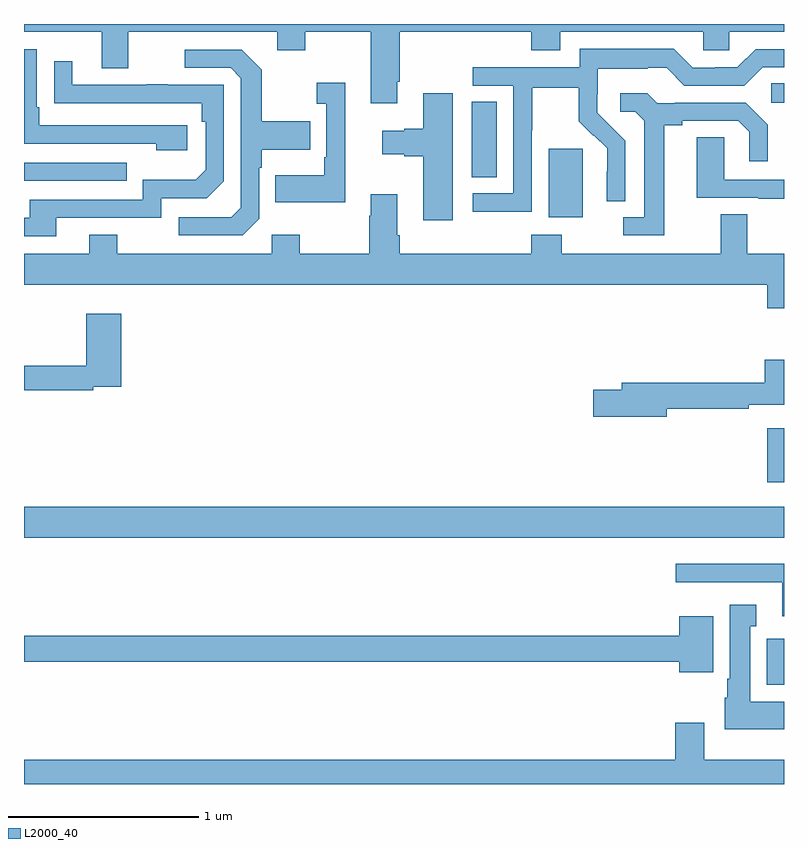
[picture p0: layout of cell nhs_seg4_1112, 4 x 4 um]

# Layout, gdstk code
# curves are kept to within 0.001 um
import gdstk
lib = gdstk.Library(unit=1e-6, precision=1e-09)
def R(c, l, rs):  # rectangles x0, y0, x1, y1
    for r in rs: c.add(gdstk.rectangle(r[:2], r[2:], *l))
def P(c, l, *ps):  # polygons
    for p in ps: c.add(gdstk.Polygon(p, *l))
L2000_40 = (2000, 40)

nhs_seg4_1112 = lib.new_cell('nhs_seg4_1112')
R(nhs_seg4_1112, L2000_40, [(172.91,753.422,173,753.664), (169,754.196,173,754.36), (172.913,754.488,173,754.773), (171.761,755.882,171.94,756.243), (169,756.075,169.541,756.171), (171.356,756.094,171.487,756.491), (172.932,756.486,173,756.587)])
P(nhs_seg4_1112, L2000_40, [(170.965,756.595),(170.978,756.595),(170.978,756.86),(171.671,756.86),(171.671,756.761),(171.823,756.761),(171.823,756.86),(172.575,756.86),(172.575,756.762),(172.713,756.762),(172.713,756.86),(173,756.86),(173,756.9),(169,756.9),(169,756.86),(169.409,756.86),(169.409,756.666),(169.549,756.666),(169.549,756.86),(170.333,756.86),(170.333,756.761),(170.481,756.761),(170.481,756.86),(170.825,756.86),(170.825,756.483),(170.965,756.483)],
  [(171.672,756.34),(171.675,756.34),(171.675,756.564),(171.919,756.564),(171.919,756.389),(171.996,756.312),(171.999,756.315),(172.07,756.245),(172.07,756.122),(172.068,756.122),(172.068,755.968),(172.164,755.968),(172.164,756.286),(172.018,756.434),(172.018,756.531),(172.02,756.531),(172.02,756.665),(172.283,756.665),(172.283,756.669),(172.383,756.669),(172.476,756.576),(172.791,756.576),(172.887,756.672),(173,756.672),(173,756.768),(172.851,756.768),(172.755,756.672),(172.637,756.672),(172.637,756.669),(172.521,756.669),(172.421,756.769),(171.924,756.769),(171.924,756.672),(171.363,756.672),(171.363,756.576),(171.576,756.576),(171.576,756.009),(171.363,756.009),(171.363,755.911),(171.672,755.911)],
  [(169.858,756.366),(169.081,756.366),(169.081,756.463),(169.068,756.463),(169.068,756.768),(169,756.768),(169,756.27),(169.697,756.27),(169.697,756.236),(169.858,756.236)],
  [(170.238,755.874),(170.238,756.143),(170.251,756.143),(170.251,756.239),(170.507,756.239),(170.507,756.387),(170.251,756.387),(170.251,756.659),(170.145,756.765),(169.845,756.765),(169.845,756.669),(170.088,756.669),(170.142,756.615),(170.142,755.934),(170.091,755.883),(169.815,755.883),(169.815,755.787),(170.151,755.787)],
  [(169.171,755.88),(169.722,755.88),(169.722,755.982),(169.962,755.982),(170.052,756.072),(170.052,756.579),(169.757,756.579),(169.757,756.584),(169.645,756.584),(169.645,756.579),(169.255,756.579),(169.255,756.703),(169.159,756.703),(169.159,756.484),(169.936,756.483),(169.936,756.386),(169.956,756.386),(169.956,756.132),(169.903,756.079),(169.626,756.079),(169.626,755.976),(169.031,755.976),(169.031,755.88),(169,755.88),(169,755.784),(169.171,755.784)],
  [(170.69,756.592),(170.541,756.592),(170.541,756.479),(170.592,756.479),(170.592,756.199),(170.58,756.199),(170.58,756.103),(170.323,756.103),(170.323,755.963),(170.69,755.963)],
  [(171.256,756.535),(171.101,756.535),(171.101,756.35),(171.002,756.35),(171.002,756.337),(170.886,756.337),(170.886,756.215),(171.002,756.215),(171.002,756.203),(171.101,756.203),(171.101,755.868),(171.256,755.868)],
  [(172.369,756.368),(172.465,756.368),(172.465,756.39),(172.76,756.39),(172.817,756.333),(172.817,756.177),(172.914,756.177),(172.914,756.37),(172.798,756.486),(172.426,756.486),(172.426,756.483),(172.332,756.483),(172.28,756.535),(172.137,756.535),(172.137,756.438),(172.218,756.438),(172.265,756.391),(172.265,755.883),(172.155,755.883),(172.155,755.787),(172.369,755.787)],
  [(173,756.081),(172.686,756.081),(172.686,756.305),(172.541,756.305),(172.541,755.985),(172.865,755.985),(172.865,755.981),(173,755.981)],
  [(173,755.692),(172.807,755.692),(172.807,755.9),(172.667,755.9),(172.667,755.692),(171.831,755.692),(171.831,755.791),(171.671,755.791),(171.671,755.692),(170.978,755.692),(170.978,755.788),(170.965,755.788),(170.965,756.004),(170.825,756.004),(170.825,755.891),(170.818,755.891),(170.818,755.692),(170.451,755.692),(170.451,755.791),(170.304,755.791),(170.304,755.692),(169.491,755.692),(169.491,755.791),(169.343,755.791),(169.343,755.692),(169,755.692),(169,755.528),(172.913,755.528),(172.913,755.404),(173,755.404)],
  [(169.364,754.992),(169.511,754.992),(169.511,755.374),(169.328,755.374),(169.328,755.101),(169,755.101),(169,754.972),(169.364,754.972)],
  [(172.384,754.876),(172.814,754.876),(172.814,754.896),(173,754.896),(173,755.134),(172.898,755.134),(172.898,755.012),(172.145,755.012),(172.145,754.976),(171.996,754.976),(171.996,754.834),(172.384,754.834)],
  [(173,754.06),(172.431,754.06),(172.431,753.963),(172.991,753.963),(172.991,753.782),(173,753.782)],
  [(173,753.334),(172.822,753.334),(172.822,753.731),(172.855,753.731),(172.855,753.844),(172.715,753.844),(172.715,753.454),(172.7,753.454),(172.7,753.354),(172.688,753.354),(172.688,753.188),(173,753.188)],
  [(172.627,753.784),(172.448,753.784),(172.448,753.68),(169,753.68),(169,753.544),(172.448,753.544),(172.448,753.488),(172.627,753.488)],
  [(173,753.028),(172.579,753.028),(172.579,753.223),(172.427,753.223),(172.427,753.028),(169,753.028),(169,752.9),(173,752.9)])

lib.write_gds('nhs_seg4_1112.gds')
